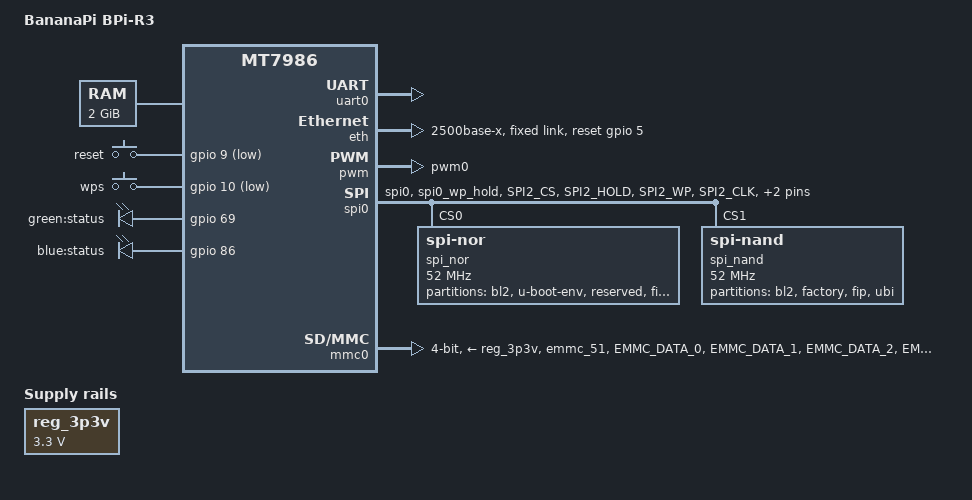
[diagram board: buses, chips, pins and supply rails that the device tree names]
// SPDX-License-Identifier: GPL-2.0
/*
 * Copyright (c) 2021 MediaTek Inc.
 * Author: Sam Shih <sam.shih@mediatek.com>
 */

/dts-v1/;
#include "mt7986.dtsi"
#include <dt-bindings/gpio/gpio.h>

/ {
	#address-cells = <1>;
	#size-cells = <1>;
	model = "BananaPi BPi-R3";
	compatible = "mediatek,mt7986", "mediatek,mt7986-sd-rfb";

	chosen {
		stdout-path = &uart0;
		tick-timer = &timer0;
	};

	memory@40000000 {
		device_type = "memory";
		reg = <0x40000000 0x80000000>;
	};

	reg_3p3v: regulator-3p3v {
		compatible = "regulator-fixed";
		regulator-name = "fixed-3.3V";
		regulator-min-microvolt = <3300000>;
		regulator-max-microvolt = <3300000>;
		regulator-boot-on;
		regulator-always-on;
	};

	keys {
		compatible = "gpio-keys";

		factory {
			label = "reset";
			gpios = <&gpio 9 GPIO_ACTIVE_LOW>;
		};

		wps {
			label = "wps";
			gpios = <&gpio 10 GPIO_ACTIVE_LOW>;
		};
	};

	leds {
		compatible = "gpio-leds";

		led_status_green: green {
			label = "green:status";
			gpios = <&gpio 69 GPIO_ACTIVE_HIGH>;
		};

		led_status_blue: blue {
			label = "blue:status";
			gpios = <&gpio 86 GPIO_ACTIVE_HIGH>;
		};
	};

};

&uart0 {
	status = "okay";
};

&uart1 {
	pinctrl-names = "default";
	pinctrl-0 = <&uart1_pins>;
	status = "disabled";
};

&eth {
	status = "okay";
	mediatek,gmac-id = <0>;
	phy-mode = "2500base-x";
	mediatek,switch = "mt7531";
	reset-gpios = <&gpio 5 GPIO_ACTIVE_HIGH>;

	fixed-link {
		speed = <2500>;
		full-duplex;
	};
};

&pinctrl {
	spic_pins: spi1-pins-func-1 {
		mux {
			function = "spi";
			groups = "spi1_2";
		};
	};

	uart1_pins: spi1-pins-func-3 {
		mux {
			function = "uart";
			groups = "uart1_2";
		};
	};

	pwm_pins: pwm0-pins-func-1 {
		mux {
			function = "pwm";
			groups = "pwm0";
		};
	};

	mmc0_pins_default: mmc0default {
		mux {
			function = "flash";
			groups =  "emmc_51";
		};

		conf-cmd-dat {
			pins = "EMMC_DATA_0", "EMMC_DATA_1", "EMMC_DATA_2",
			       "EMMC_DATA_3", "EMMC_DATA_4", "EMMC_DATA_5",
			       "EMMC_DATA_6", "EMMC_DATA_7", "EMMC_CMD";
			input-enable;
			drive-strength = <MTK_DRIVE_4mA>;
			bias-pull-up = <MTK_PUPD_SET_R1R0_01>;
		};

		conf-clk {
			pins = "EMMC_CK";
			drive-strength = <MTK_DRIVE_6mA>;
			bias-pull-down = <MTK_PUPD_SET_R1R0_10>;
		};

		conf-dsl {
			pins = "EMMC_DSL";
			bias-pull-down = <MTK_PUPD_SET_R1R0_10>;
		};

		conf-rst {
			pins = "EMMC_RSTB";
			drive-strength = <MTK_DRIVE_4mA>;
			bias-pull-up = <MTK_PUPD_SET_R1R0_01>;
		};
	};

	spi_flash_pins: spi0-pins-func-1 {
		mux {
			function = "flash";
			groups = "spi0", "spi0_wp_hold";
		};

		conf-pu {
			pins = "SPI2_CS", "SPI2_HOLD", "SPI2_WP";
			drive-strength = <MTK_DRIVE_8mA>;
			bias-pull-up = <MTK_PUPD_SET_R1R0_00>;
		};

		conf-pd {
			pins = "SPI2_CLK", "SPI2_MOSI", "SPI2_MISO";
			drive-strength = <MTK_DRIVE_8mA>;
			bias-pull-down = <MTK_PUPD_SET_R1R0_00>;
		};
	};
};

&pwm {
	pinctrl-names = "default";
	pinctrl-0 = <&pwm_pins>;
	status = "okay";
};

&spi0 {
	#address-cells = <1>;
	#size-cells = <0>;
	pinctrl-names = "default";
	pinctrl-0 = <&spi_flash_pins>;
	status = "okay";
	must_tx;
	enhance_timing;
	dma_ext;
	ipm_design;
	support_quad;
	tick_dly = <1>;
	sample_sel = <0>;

	spi_nor@0 {
		compatible = "jedec,spi-nor";
		reg = <0>;
		spi-max-frequency = <52000000>;

		partitions {
			compatible = "fixed-partitions";
			#address-cells = <1>;
			#size-cells = <1>;

			partition@0 {
				label = "bl2";
				reg = <0x0 0x40000>;
			};

			partition@40000 {
				label = "u-boot-env";
				reg = <0x40000 0x40000>;
			};

			partition@80000 {
				label = "reserved";
				reg = <0x80000 0x80000>;
			};

			partition@100000 {
				label = "fip";
				reg = <0x100000 0x80000>;
			};

			partition@180000 {
				label = "recovery";
				reg = <0x180000 0xa80000>;
			};

			partition@c00000 {
				label = "fit";
				reg = <0xc00000 0x1400000>;
			};
		};
	};

	spi_nand@1 {
		compatible = "spi-nand";
		reg = <1>;
		spi-max-frequency = <52000000>;

		partitions {
			compatible = "fixed-partitions";
			#address-cells = <1>;
			#size-cells = <1>;

			partition@0 {
				label = "bl2";
				reg = <0x0 0x80000>;
			};

			partition@80000 {
				label = "factory";
				reg = <0x80000 0x300000>;
			};

			partition@380000 {
				label = "fip";
				reg = <0x380000 0x200000>;
			};

			partition@580000 {
				label = "ubi";
				reg = <0x580000 0x7a80000>;
			};
		};
	};
};

&watchdog {
	status = "disabled";
};

&mmc0 {
	pinctrl-names = "default";
	pinctrl-0 = <&mmc0_pins_default>;
	bus-width = <4>;
	max-frequency = <52000000>;
	cap-sd-highspeed;
	r_smpl = <1>;
	vmmc-supply = <&reg_3p3v>;
	vqmmc-supply = <&reg_3p3v>;
	status = "okay";
};
